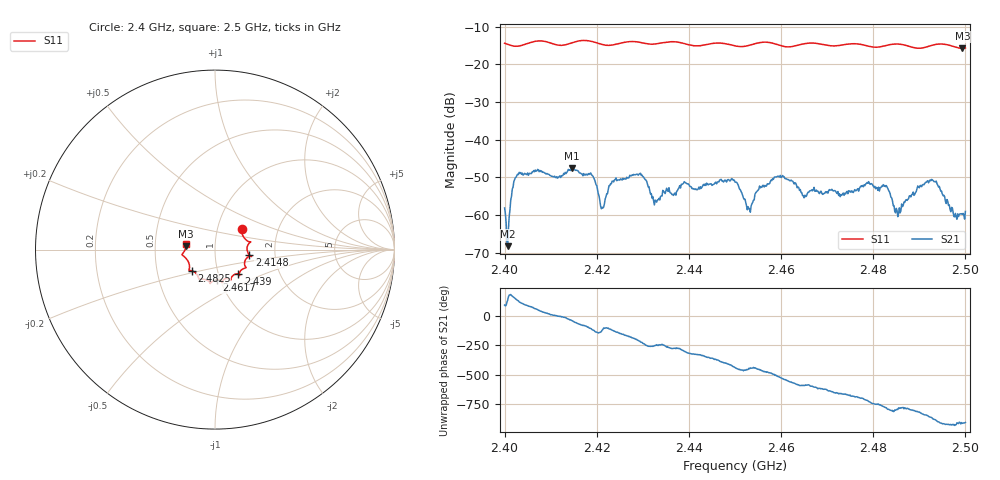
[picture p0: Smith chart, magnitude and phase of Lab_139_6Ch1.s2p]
# Hz S RI R 50
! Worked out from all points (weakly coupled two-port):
!   601 points, 2.4 GHz to 2.5 GHz, reference 50 ohm
!   highest |S21| = -47.66 dB at 2.4147 GHz (marker M1); lowest = -68.3 dB at 2.4007 GHz (marker M2)
!   lowest |S11| = -15.7 dB at 2.4993 GHz (marker M3), VSWR 1.39, Z = 36 + j1.41 ohm
!   |S11| at or under -10 dB: start of sweep to end of sweep
!   S12 and S22 are empty: the file has one direction only
!   S11 on the Smith chart (normalised r, x): 2.4 GHz: 1.31, +0.32; 2.4148 GHz: 1.47, -0.09; 2.439 GHz: 1.24, -0.35; 2.4617 GHz: 0.96, -0.34; 2.4825 GHz: 0.75, -0.18; 2.5 GHz: 0.72, +0.05
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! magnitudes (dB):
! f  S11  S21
! 2.4 GHz  -14.4  -58.1
! 2.4007 GHz  -14.7  -68.3
! 2.403 GHz  -15.2  -49.3
! 2.4147 GHz  -14.3  -47.7
! 2.4148 GHz  -14.2  -48.0
! 2.4167 GHz  -13.7  -49.1
! 2.4192 GHz  -14.0  -49.7
! 2.4212 GHz  -14.7  -57.9
! 2.4237 GHz  -14.8  -51.2
! 2.429 GHz  -14.1  -49.4
! 2.4333 GHz  -14.5  -56.0
! 2.439 GHz  -14.5  -51.2
! 2.45 GHz  -15.1  -51.2
! 2.453 GHz  -15.0  -58.4
! 2.4617 GHz  -15.4  -50.7
! 2.4667 GHz  -14.4  -53.3
! 2.4825 GHz  -15.1  -52.2
! 2.4833 GHz  -14.9  -53.5
! 2.4853 GHz  -14.6  -60.4
! 2.4932 GHz  -14.8  -51.1
! 2.4993 GHz  -15.7  -59.8
! 2.5 GHz  -15.7  -59.1
